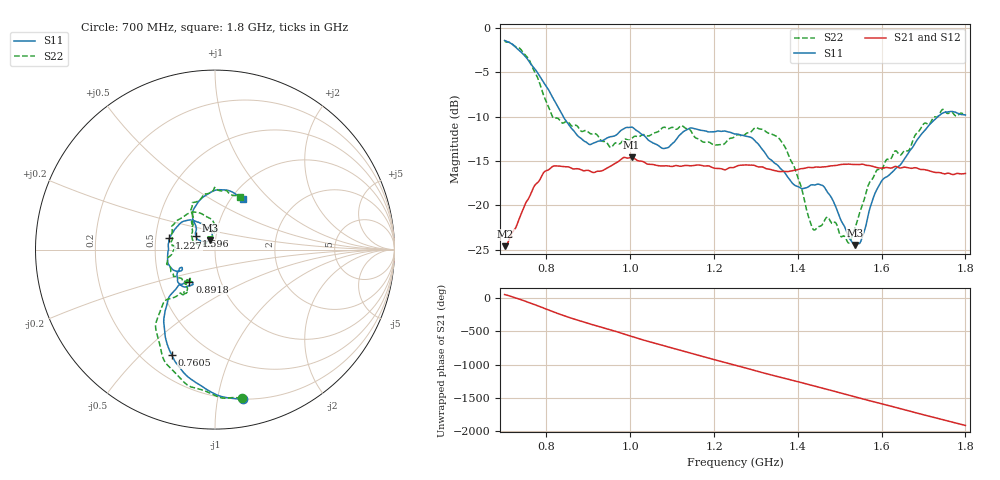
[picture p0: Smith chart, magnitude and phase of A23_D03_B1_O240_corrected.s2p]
! Created with skrf 1.9.0 (http://scikit-rf.org).
# Hz S RI R 50.0
!freq ReS11 ImS11 ReS21 ImS21 ReS12 ImS12 ReS22 ImS22
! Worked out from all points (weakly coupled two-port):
!   1601 points, 700 MHz to 1.8 GHz, reference 50 ohm
!   highest |S21| = -14.59 dB at 1.003 GHz (marker M1); lowest = -24.6 dB at 701.4 MHz (marker M2)
!   lowest |S11| = -24.5 dB at 1.537 GHz (marker M3), VSWR 1.13, Z = 47.2 + j5.09 ohm
!   |S11| at or under -10 dB: 839.9 MHz to 1.735 GHz (894.9 MHz wide, 69.5 % of centre)
!   |S22| runs from -24.3 to -1.5 dB; largest |S21 - S12| = 0.0035
!   S11 on the Smith chart (normalised r, x): 700 MHz: 0.20, -1.19; 760.5 MHz: 0.32, -0.62; 891.8 MHz: 0.71, -0.27; 1.227 GHz: 0.59, +0.08; 1.596 GHz: 0.80, +0.13; 1.8 GHz: 1.13, +0.71
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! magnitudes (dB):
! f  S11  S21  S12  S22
! 700 MHz  -1.4  -24.6  -24.4  -1.5
! 701.4 MHz  -1.5  -24.6  -24.2  -1.5
! 760.5 MHz  -3.9  -18.9  -18.8  -3.8
! 814.8 MHz  -7.9  -15.6  -15.7  -10.1
! 883.6 MHz  -12.5  -16.0  -15.9  -11.7
! 891.8 MHz  -12.8  -16.1  -16.1  -11.6
! 953 MHz  -12.3  -15.6  -15.6  -13.5
! 1.003 GHz  -11.2  -14.6  -14.7  -12.5
! 1.067 GHz  -13.3  -15.5  -15.5  -11.7
! 1.227 GHz  -11.6  -16.0  -15.9  -13.0
! 1.25 GHz  -12.0  -15.7  -15.6  -12.2
! 1.356 GHz  -15.7  -16.2  -16.1  -12.5
! 1.394 GHz  -17.8  -16.0  -16.0  -16.0
! 1.434 GHz  -17.7  -15.8  -15.7  -22.4
! 1.465 GHz  -18.1  -15.7  -15.6  -21.6
! 1.521 GHz  -23.5  -15.4  -15.4  -24.3
! 1.537 GHz  -24.5  -15.4  -15.4  -22.6
! 1.569 GHz  -20.9  -15.5  -15.5  -17.6
! 1.596 GHz  -17.6  -15.8  -15.8  -16.0
! 1.617 GHz  -16.6  -15.8  -15.7  -14.9
! 1.739 GHz  -9.8  -16.3  -16.4  -9.7
! 1.8 GHz  -9.8  -16.4  -16.4  -9.8
